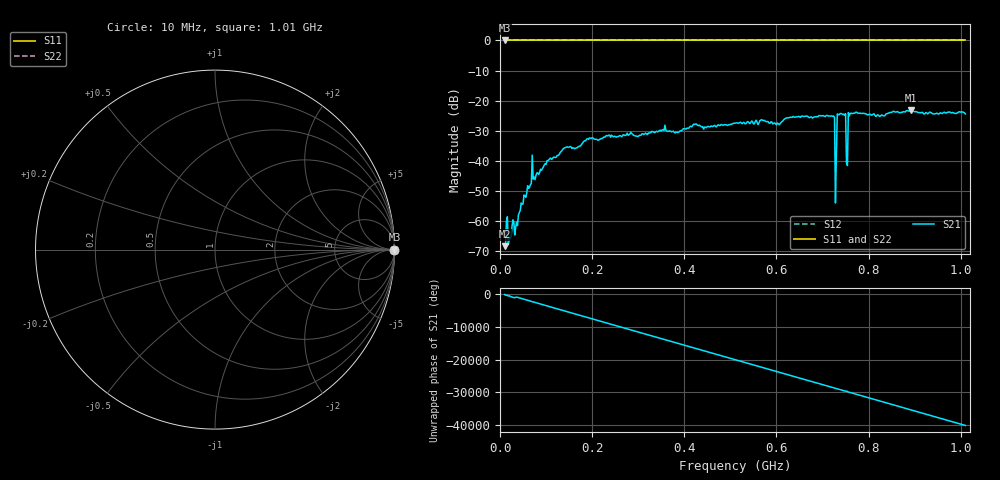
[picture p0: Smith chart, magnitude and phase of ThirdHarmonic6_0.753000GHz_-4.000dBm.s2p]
! 8/16/2025 1:10:24 AM
! C:\ANRITSUVNA\TEMP\TEMP.S2P
! CHANNEL.1
! TR.MEASUREMENT
! RAW.DATA
! RF.CORRECTION.OFF
! AVERAGING.OFF
! IF.BANDWIDTH: 5KHZ
! SWEEPTYPE:  FREQ.SWEEP(Linear)
! Reference Plane Port Info
! PORT:  PORT1  PORT2
! DISTANCE:  0  m  0  m
! TIME:  0  s  0  s
! PHASE.OFFSET:  0  deg.  0  deg.
! LOSS:  0  dB  0  dB
! REF.LOSS:  0  dB  0  dB
! REF.FREQ:  0  Hz  0  Hz
! Power Info
! POWER:  -20  dBm  -20  dBm
! EFF.POWER:  -20  dBm  -20  dBm
! SOURCE.ATTEN:  0  dB  0  dB
! TEST.ATTEN:  0  dB  0  dB
# GHZ S RI R 50.0
! FREQ.GHZ  S11RE  S11IM  S21RE  S21IM  S12RE  S12IM  S22RE  S22IM
!; PortSelection: Port_12
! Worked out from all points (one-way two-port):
!   501 points, 10 MHz to 1.01 GHz, reference 50 ohm
!   highest |S21| = -23.27 dB at 892 MHz (marker M1); lowest = -68.3 dB at 10 MHz (marker M2)
!   lowest |S11| = 0.0 dB at 10 MHz (marker M3)
!   |S11| at or under -10 dB: nowhere
!   |S22| runs from 0.0 to 0.0 dB; largest |S21 - S12| = 1.1
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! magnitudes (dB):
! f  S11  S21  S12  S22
! 10 MHz  0.0  -68.3  0.0  0.0
! 36 MHz  0.0  -60.3  0.0  0.0
! 50 MHz  0.0  -54.3  0.0  0.0
! 74 MHz  0.0  -45.4  0.0  0.0
! 140 MHz  0.0  -35.7  0.0  0.0
! 178 MHz  0.0  -34.4  0.0  0.0
! 344 MHz  0.0  -30.3  0.0  0.0
! 510 MHz  0.0  -27.5  0.0  0.0
! 678 MHz  0.0  -25.8  0.0  0.0
! 722 MHz  0.0  -25.2  0.0  0.0
! 724 MHz  0.0  -25.1  0.0  0.0
! 726 MHz  0.0  -25.6  0.0  0.0
! 732 MHz  0.0  -24.4  0.0  0.0
! 734 MHz  0.0  -24.6  0.0  0.0
! 736 MHz  0.0  -24.7  0.0  0.0
! 746 MHz  0.0  -24.5  0.0  0.0
! 750 MHz  0.0  -24.3  0.0  0.0
! 756 MHz  0.0  -24.0  0.0  0.0
! 760 MHz  0.0  -24.2  0.0  0.0
! 844 MHz  0.0  -24.1  0.0  0.0
! 892 MHz  0.0  -23.3  0.0  0.0
! 1.01 GHz  0.0  -24.4  0.0  0.0
